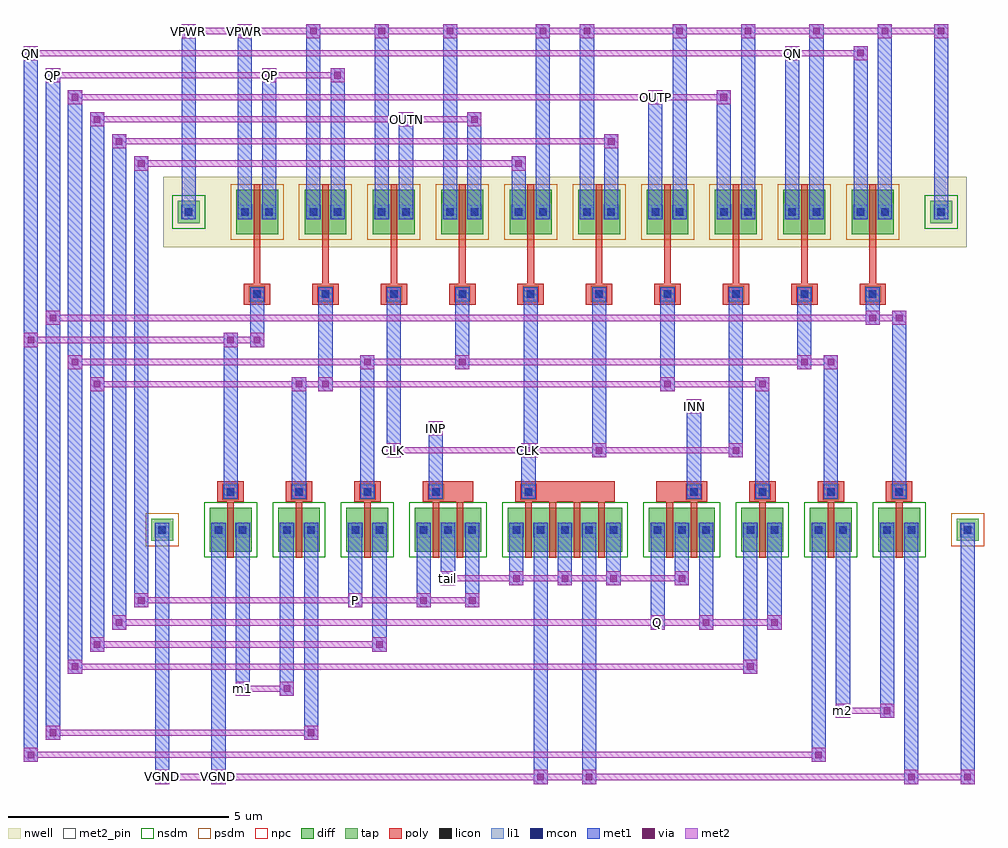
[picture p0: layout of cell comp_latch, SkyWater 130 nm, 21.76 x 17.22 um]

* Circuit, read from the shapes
.subckt comp_latch CLK INN INP OUTN OUTP P Q QN QP VGND VPWR m1 m2 tail
XM1 m1 QN VGND VGND sky130_fd_pr__nfet_01v8 w=1 l=0.15
XM2 QP OUTN m1 VGND sky130_fd_pr__nfet_01v8 w=1 l=0.15
XM3 OUTN OUTP P VGND sky130_fd_pr__nfet_01v8 w=1 l=0.15
XM4 tail INP P VGND sky130_fd_pr__nfet_01v8 w=1 l=0.15 m=2
XM5 VGND CLK tail VGND sky130_fd_pr__nfet_01v8 w=1 l=0.15 m=4
XM6 tail INN Q VGND sky130_fd_pr__nfet_01v8 w=1 l=0.15 m=2
XM7 Q OUTN OUTP VGND sky130_fd_pr__nfet_01v8 w=1 l=0.15
XM8 m2 OUTP QN VGND sky130_fd_pr__nfet_01v8 w=1 l=0.15
XM9 VGND QP m2 VGND sky130_fd_pr__nfet_01v8 w=1 l=0.15
XM10 QP QN VPWR VPWR sky130_fd_pr__pfet_01v8 w=1 l=0.15
XM11 QP OUTN VPWR VPWR sky130_fd_pr__pfet_01v8 w=1 l=0.15
XM12 OUTN CLK VPWR VPWR sky130_fd_pr__pfet_01v8 w=1 l=0.15
XM13 OUTN OUTP VPWR VPWR sky130_fd_pr__pfet_01v8 w=1 l=0.15
XM14 VPWR CLK P VPWR sky130_fd_pr__pfet_01v8 w=1 l=0.15
XM15 Q CLK VPWR VPWR sky130_fd_pr__pfet_01v8 w=1 l=0.15
XM16 VPWR OUTN OUTP VPWR sky130_fd_pr__pfet_01v8 w=1 l=0.15
XM17 VPWR CLK OUTP VPWR sky130_fd_pr__pfet_01v8 w=1 l=0.15
XM18 VPWR OUTP QN VPWR sky130_fd_pr__pfet_01v8 w=1 l=0.15
XM19 VPWR QP QN VPWR sky130_fd_pr__pfet_01v8 w=1 l=0.15
.ends

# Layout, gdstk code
import gdstk
lib = gdstk.Library(unit=1e-6, precision=1e-09)
def R(c, l, rs):  # rectangles x0, y0, x1, y1
    for r in rs: c.add(gdstk.rectangle(r[:2], r[2:], *l))
def A(c, l, x, y, w, h, nx, ny, dx, dy):  # array of equal rectangles
    R(c, l, [(x+i*dx, y+j*dy, x+i*dx+w, y+j*dy+h) for i in range(nx) for j in range(ny)])
nwell = (64, 20)
diff = (65, 20)
tap = (65, 44)
poly = (66, 20)
licon = (66, 44)
li1 = (67, 20)
mcon = (67, 44)
met1 = (68, 20)
via = (68, 44)
met2_pin = (69, 16)
met2 = (69, 20)
nsdm = (93, 44)
psdm = (94, 20)
npc = (95, 20)

comp_latch = lib.new_cell('comp_latch')
R(comp_latch, nwell, [(-9.1,6.9,9.1,8.5)])
A(comp_latch, diff, -8.05, 0, 0.95, 1, 3, 1, 1.55, 0)
A(comp_latch, diff, 4, 0, 0.95, 1, 3, 1, 1.55, 0)
A(comp_latch, diff, -7.45, 7.2, 0.95, 1, 10, 1, 1.55, 0)
R(comp_latch, diff, [(-3.4,0,-1.9,1), (-1.3,0,1.3,1), (1.9,0,3.4,1)])
R(comp_latch, tap, [(-9.375,0.25,-8.875,0.75), (8.875,0.25,9.375,0.75), (-8.775,7.45,-8.275,7.95), (8.275,7.45,8.775,7.95)])
A(comp_latch, poly, -7.65, -0.13, 0.15, 1.26, 4, 1, 1.55, 0)
A(comp_latch, poly, -0.9, -0.13, 0.15, 1.26, 4, 1, 0.55, 0)
A(comp_latch, poly, 2.85, -0.13, 0.15, 1.26, 4, 1, 1.55, 0)
A(comp_latch, poly, -7.875, 1.13, 0.6, 0.47, 3, 1, 1.55, 0)
A(comp_latch, poly, 4.175, 1.13, 0.6, 0.47, 3, 1, 1.55, 0)
A(comp_latch, poly, -7.275, 5.6, 0.6, 0.47, 10, 1, 1.55, 0)
A(comp_latch, poly, -7.05, 6.07, 0.15, 2.26, 10, 1, 1.55, 0)
R(comp_latch, poly, [(-2.45,-0.13,-2.3,1.13), (2.3,-0.13,2.45,1.13), (-3.225,1.13,-2.075,1.6), (-1.125,1.13,1.125,1.6), (2.075,1.13,3.225,1.6)])
A(comp_latch, licon, -3.285, 0.415, 0.17, 0.17, 3, 1, 0.55, 0)
A(comp_latch, licon, -1.185, 0.415, 0.17, 0.17, 5, 1, 0.55, 0)
A(comp_latch, licon, 2.015, 0.415, 0.17, 0.17, 3, 1, 0.55, 0)
A(comp_latch, licon, -7.66, 1.275, 0.17, 0.17, 4, 1, 1.55, 0)
A(comp_latch, licon, 2.84, 1.275, 0.17, 0.17, 4, 1, 1.55, 0)
A(comp_latch, licon, -7.06, 5.755, 0.17, 0.17, 10, 1, 1.55, 0)
R(comp_latch, licon, [(-9.21,0.415,-9.04,0.585), (-7.935,0.415,-7.765,0.585), (-7.385,0.415,-7.215,0.585), (-6.385,0.415,-6.215,0.585), (-5.835,0.415,-5.665,0.585), (-4.835,0.415,-4.665,0.585), (-4.285,0.415,-4.115,0.585), (4.115,0.415,4.285,0.585), (4.665,0.415,4.835,0.585), (5.665,0.415,5.835,0.585), (6.215,0.415,6.385,0.585), (7.215,0.415,7.385,0.585), (7.765,0.415,7.935,0.585), (9.04,0.415,9.21,0.585), (-0.91,1.275,-0.74,1.445), (-8.61,7.615,-8.44,7.785), (-7.335,7.615,-7.165,7.785), (-6.785,7.615,-6.615,7.785), (-5.785,7.615,-5.615,7.785), (-5.235,7.615,-5.065,7.785), (-4.235,7.615,-4.065,7.785), (-3.685,7.615,-3.515,7.785), (-2.685,7.615,-2.515,7.785), (-2.135,7.615,-1.965,7.785), (-1.135,7.615,-0.965,7.785), (-0.585,7.615,-0.415,7.785), (0.415,7.615,0.585,7.785), (0.965,7.615,1.135,7.785), (1.965,7.615,2.135,7.785), (2.515,7.615,2.685,7.785), (3.515,7.615,3.685,7.785), (4.065,7.615,4.235,7.785), (5.065,7.615,5.235,7.785), (5.615,7.615,5.785,7.785), (6.615,7.615,6.785,7.785), (7.165,7.615,7.335,7.785), (8.44,7.615,8.61,7.785)])
A(comp_latch, li1, -3.365, 0.335, 0.33, 0.33, 3, 1, 0.55, 0)
A(comp_latch, li1, -1.265, 0.335, 0.33, 0.33, 5, 1, 0.55, 0)
A(comp_latch, li1, 1.935, 0.335, 0.33, 0.33, 3, 1, 0.55, 0)
A(comp_latch, li1, -7.74, 1.195, 0.33, 0.33, 4, 1, 1.55, 0)
A(comp_latch, li1, 2.76, 1.195, 0.33, 0.33, 4, 1, 1.55, 0)
A(comp_latch, li1, -7.14, 5.675, 0.33, 0.33, 10, 1, 1.55, 0)
R(comp_latch, li1, [(-9.29,0.335,-8.96,0.665), (-8.015,0.335,-7.685,0.665), (-7.465,0.335,-7.135,0.665), (-6.465,0.335,-6.135,0.665), (-5.915,0.335,-5.585,0.665), (-4.915,0.335,-4.585,0.665), (-4.365,0.335,-4.035,0.665), (4.035,0.335,4.365,0.665), (4.585,0.335,4.915,0.665), (5.585,0.335,5.915,0.665), (6.135,0.335,6.465,0.665), (7.135,0.335,7.465,0.665), (7.685,0.335,8.015,0.665), (8.96,0.335,9.29,0.665), (-0.99,1.195,-0.66,1.525), (-8.69,7.535,-8.36,7.865), (-7.415,7.535,-7.085,7.865), (-6.865,7.535,-6.535,7.865), (-5.865,7.535,-5.535,7.865), (-5.315,7.535,-4.985,7.865), (-4.315,7.535,-3.985,7.865), (-3.765,7.535,-3.435,7.865), (-2.765,7.535,-2.435,7.865), (-2.215,7.535,-1.885,7.865), (-1.215,7.535,-0.885,7.865), (-0.665,7.535,-0.335,7.865), (0.335,7.535,0.665,7.865), (0.885,7.535,1.215,7.865), (1.885,7.535,2.215,7.865), (2.435,7.535,2.765,7.865), (3.435,7.535,3.765,7.865), (3.985,7.535,4.315,7.865), (4.985,7.535,5.315,7.865), (5.535,7.535,5.865,7.865), (6.535,7.535,6.865,7.865), (7.085,7.535,7.415,7.865), (8.36,7.535,8.69,7.865)])
A(comp_latch, mcon, -3.285, 0.415, 0.17, 0.17, 3, 1, 0.55, 0)
A(comp_latch, mcon, -1.185, 0.415, 0.17, 0.17, 5, 1, 0.55, 0)
A(comp_latch, mcon, 2.015, 0.415, 0.17, 0.17, 3, 1, 0.55, 0)
A(comp_latch, mcon, -7.66, 1.275, 0.17, 0.17, 4, 1, 1.55, 0)
A(comp_latch, mcon, 2.84, 1.275, 0.17, 0.17, 4, 1, 1.55, 0)
A(comp_latch, mcon, -7.06, 5.755, 0.17, 0.17, 10, 1, 1.55, 0)
R(comp_latch, mcon, [(-9.21,0.415,-9.04,0.585), (-7.935,0.415,-7.765,0.585), (-7.385,0.415,-7.215,0.585), (-6.385,0.415,-6.215,0.585), (-5.835,0.415,-5.665,0.585), (-4.835,0.415,-4.665,0.585), (-4.285,0.415,-4.115,0.585), (4.115,0.415,4.285,0.585), (4.665,0.415,4.835,0.585), (5.665,0.415,5.835,0.585), (6.215,0.415,6.385,0.585), (7.215,0.415,7.385,0.585), (7.765,0.415,7.935,0.585), (9.04,0.415,9.21,0.585), (-0.91,1.275,-0.74,1.445), (-8.61,7.615,-8.44,7.785), (-7.335,7.615,-7.165,7.785), (-6.785,7.615,-6.615,7.785), (-5.785,7.615,-5.615,7.785), (-5.235,7.615,-5.065,7.785), (-4.235,7.615,-4.065,7.785), (-3.685,7.615,-3.515,7.785), (-2.685,7.615,-2.515,7.785), (-2.135,7.615,-1.965,7.785), (-1.135,7.615,-0.965,7.785), (-0.585,7.615,-0.415,7.785), (0.415,7.615,0.585,7.785), (0.965,7.615,1.135,7.785), (1.965,7.615,2.135,7.785), (2.515,7.615,2.685,7.785), (3.515,7.615,3.685,7.785), (4.065,7.615,4.235,7.785), (5.065,7.615,5.235,7.785), (5.615,7.615,5.785,7.785), (6.615,7.615,6.785,7.785), (7.165,7.615,7.335,7.785), (8.44,7.615,8.61,7.785)])
A(comp_latch, met1, -1.26, -0.76, 0.32, 1.42, 3, 1, 1.1, 0)
A(comp_latch, met1, -3.345, 0.355, 0.29, 0.29, 3, 1, 0.55, 0)
A(comp_latch, met1, -1.245, 0.355, 0.29, 0.29, 5, 1, 0.55, 0)
A(comp_latch, met1, 1.955, 0.355, 0.29, 0.29, 3, 1, 0.55, 0)
A(comp_latch, met1, -7.72, 1.215, 0.29, 0.29, 4, 1, 1.55, 0)
A(comp_latch, met1, 2.78, 1.215, 0.29, 0.29, 4, 1, 1.55, 0)
A(comp_latch, met1, -7.12, 5.695, 0.29, 0.29, 10, 1, 1.55, 0)
A(comp_latch, met1, -7.41, 7.54, 0.32, 4.42, 4, 1, 1.55, 0)
A(comp_latch, met1, 2.44, 7.54, 0.32, 4.42, 4, 1, 1.55, 0)
R(comp_latch, met1, [(-9.285,-5.26,-8.965,0.66), (-8.01,-5.26,-7.69,0.66), (-0.71,-5.26,-0.39,0.66), (0.39,-5.26,0.71,0.66), (7.69,-5.26,8.01,0.66), (8.965,-5.26,9.285,0.66), (-12.26,-4.76,-11.94,11.46), (5.59,-4.76,5.91,0.66), (-11.76,-4.26,-11.44,10.96), (-5.91,-4.26,-5.59,0.66), (6.14,-3.76,6.46,0.66), (7.14,-3.76,7.46,0.66), (-7.46,-3.26,-7.14,0.66), (-6.46,-3.26,-6.14,0.66), (-11.26,-2.76,-10.94,10.46), (4.04,-2.76,4.36,0.66), (-10.76,-2.26,-10.44,9.96), (-4.36,-2.26,-4.04,0.66), (-10.26,-1.76,-9.94,9.46), (1.94,-1.76,2.26,0.66), (3.04,-1.76,3.36,0.66), (4.59,-1.76,4.91,0.66), (-9.76,-1.26,-9.44,8.96), (-4.91,-1.26,-4.59,0.66), (-3.36,-1.26,-3.04,0.66), (-2.26,-1.26,-1.94,0.66), (-2.81,-0.76,-2.49,0.66), (2.49,-0.76,2.81,0.66), (-9.27,0.355,-8.98,0.645), (-7.995,0.355,-7.705,0.645), (-7.445,0.355,-7.155,0.645), (-6.445,0.355,-6.155,0.645), (-5.895,0.355,-5.605,0.645), (-4.895,0.355,-4.605,0.645), (-4.345,0.355,-4.055,0.645), (4.055,0.355,4.345,0.645), (4.605,0.355,4.895,0.645), (5.605,0.355,5.895,0.645), (6.155,0.355,6.445,0.645), (7.155,0.355,7.445,0.645), (7.705,0.355,7.995,0.645), (8.98,0.355,9.27,0.645), (-7.735,1.2,-7.415,4.96), (-6.185,1.2,-5.865,3.96), (-4.635,1.2,-4.315,4.46), (-3.085,1.2,-2.765,2.96), (-0.985,1.2,-0.665,2.46), (2.765,1.2,3.085,3.46), (4.315,1.2,4.635,3.96), (5.865,1.2,6.185,4.46), (7.415,1.2,7.735,5.46), (-0.97,1.215,-0.68,1.505), (-4.035,2.14,-3.715,6), (-0.935,2.14,-0.615,6), (0.615,2.14,0.935,6), (3.715,2.14,4.035,6), (-5.585,3.64,-5.265,6), (2.165,3.64,2.485,6), (-2.485,4.14,-2.165,6), (5.265,4.14,5.585,6), (-7.135,4.64,-6.815,6), (6.815,5.14,7.135,6), (-8.685,7.54,-8.365,11.96), (-6.86,7.54,-6.54,10.96), (-5.31,7.54,-4.99,10.96), (-3.76,7.54,-3.44,9.96), (-2.21,7.54,-1.89,9.96), (-1.21,7.54,-0.89,8.96), (-0.66,7.54,-0.34,11.96), (0.34,7.54,0.66,11.96), (0.89,7.54,1.21,9.46), (1.89,7.54,2.21,10.46), (3.44,7.54,3.76,10.46), (4.99,7.54,5.31,11.46), (6.54,7.54,6.86,11.46), (8.365,7.54,8.685,11.96), (-8.67,7.555,-8.38,7.845), (-7.395,7.555,-7.105,7.845), (-6.845,7.555,-6.555,7.845), (-5.845,7.555,-5.555,7.845), (-5.295,7.555,-5.005,7.845), (-4.295,7.555,-4.005,7.845), (-3.745,7.555,-3.455,7.845), (-2.745,7.555,-2.455,7.845), (-2.195,7.555,-1.905,7.845), (-1.195,7.555,-0.905,7.845), (-0.645,7.555,-0.355,7.845), (0.355,7.555,0.645,7.845), (0.905,7.555,1.195,7.845), (1.905,7.555,2.195,7.845), (2.455,7.555,2.745,7.845), (3.455,7.555,3.745,7.845), (4.005,7.555,4.295,7.845), (5.005,7.555,5.295,7.845), (5.555,7.555,5.845,7.845), (6.555,7.555,6.845,7.845), (7.105,7.555,7.395,7.845), (8.38,7.555,8.67,7.845)])
A(comp_latch, via, -1.175, -0.675, 0.15, 0.15, 3, 1, 1.1, 0)
A(comp_latch, via, -7.325, 11.725, 0.15, 0.15, 4, 1, 1.55, 0)
A(comp_latch, via, 2.525, 11.725, 0.15, 0.15, 4, 1, 1.55, 0)
R(comp_latch, via, [(-9.2,-5.175,-9.05,-5.025), (-7.925,-5.175,-7.775,-5.025), (-0.625,-5.175,-0.475,-5.025), (0.475,-5.175,0.625,-5.025), (7.775,-5.175,7.925,-5.025), (9.05,-5.175,9.2,-5.025), (-12.175,-4.675,-12.025,-4.525), (5.675,-4.675,5.825,-4.525), (-11.675,-4.175,-11.525,-4.025), (-5.825,-4.175,-5.675,-4.025), (6.225,-3.675,6.375,-3.525), (7.225,-3.675,7.375,-3.525), (-7.375,-3.175,-7.225,-3.025), (-6.375,-3.175,-6.225,-3.025), (-11.175,-2.675,-11.025,-2.525), (4.125,-2.675,4.275,-2.525), (-10.675,-2.175,-10.525,-2.025), (-4.275,-2.175,-4.125,-2.025), (-10.175,-1.675,-10.025,-1.525), (2.025,-1.675,2.175,-1.525), (3.125,-1.675,3.275,-1.525), (4.675,-1.675,4.825,-1.525), (-9.675,-1.175,-9.525,-1.025), (-4.825,-1.175,-4.675,-1.025), (-3.275,-1.175,-3.125,-1.025), (-2.175,-1.175,-2.025,-1.025), (-2.725,-0.675,-2.575,-0.525), (2.575,-0.675,2.725,-0.525), (-3.95,2.225,-3.8,2.375), (-0.9,2.225,-0.75,2.375), (-0.85,2.225,-0.7,2.375), (0.7,2.225,0.85,2.375), (3.8,2.225,3.95,2.375), (-3,2.725,-2.85,2.875), (2.85,3.225,3,3.375), (-10.675,3.725,-10.525,3.875), (-6.1,3.725,-5.95,3.875), (-5.5,3.725,-5.35,3.875), (2.25,3.725,2.4,3.875), (4.4,3.725,4.55,3.875), (-11.175,4.225,-11.025,4.375), (-4.55,4.225,-4.4,4.375), (-2.4,4.225,-2.25,4.375), (5.35,4.225,5.5,4.375), (5.95,4.225,6.1,4.375), (-12.175,4.725,-12.025,4.875), (-7.65,4.725,-7.5,4.875), (-7.05,4.725,-6.9,4.875), (-11.675,5.225,-11.525,5.375), (6.9,5.225,7.05,5.375), (7.5,5.225,7.65,5.375), (-9.675,8.725,-9.525,8.875), (-1.125,8.725,-0.975,8.875), (-10.175,9.225,-10.025,9.375), (0.975,9.225,1.125,9.375), (-10.675,9.725,-10.525,9.875), (-3.675,9.725,-3.525,9.875), (-2.125,9.725,-1.975,9.875), (-11.175,10.225,-11.025,10.375), (1.975,10.225,2.125,10.375), (3.525,10.225,3.675,10.375), (-11.675,10.725,-11.525,10.875), (-6.775,10.725,-6.625,10.875), (-5.225,10.725,-5.075,10.875), (-12.175,11.225,-12.025,11.375), (5.075,11.225,5.225,11.375), (6.625,11.225,6.775,11.375), (-8.6,11.725,-8.45,11.875), (-0.575,11.725,-0.425,11.875), (0.425,11.725,0.575,11.875), (8.45,11.725,8.6,11.875)])
R(comp_latch, met2_pin, [(-9.225,-5.2,-9.025,-5), (-3.975,2.2,-3.775,2.4), (-3.025,2.7,-2.825,2.9), (2.825,3.2,3.025,3.4), (-11.7,10.7,-11.5,10.9), (-12.2,11.2,-12,11.4), (-8.625,11.7,-8.425,11.9)])
A(comp_latch, met2, -1.26, -0.76, 0.32, 0.32, 3, 1, 1.1, 0)
A(comp_latch, met2, -7.41, 11.64, 0.32, 0.32, 4, 1, 1.55, 0)
A(comp_latch, met2, 2.44, 11.64, 0.32, 0.32, 4, 1, 1.55, 0)
R(comp_latch, met2, [(-9.285,-5.26,-8.965,-4.94), (-8.01,-5.26,-7.69,-4.94), (-0.71,-5.26,-0.39,-4.94), (0.39,-5.26,0.71,-4.94), (7.69,-5.26,8.01,-4.94), (8.965,-5.26,9.285,-4.94), (-9.285,-5.17,9.285,-5.03), (-12.26,-4.76,-11.94,-4.44), (5.59,-4.76,5.91,-4.44), (-12.26,-4.67,5.91,-4.53), (-11.76,-4.26,-11.44,-3.94), (-5.91,-4.26,-5.59,-3.94), (-11.76,-4.17,-5.59,-4.03), (6.14,-3.76,6.46,-3.44), (7.14,-3.76,7.46,-3.44), (6.14,-3.67,7.46,-3.53), (-7.46,-3.26,-7.14,-2.94), (-6.46,-3.26,-6.14,-2.94), (-7.46,-3.17,-6.14,-3.03), (-11.26,-2.76,-10.94,-2.44), (4.04,-2.76,4.36,-2.44), (-11.26,-2.67,4.36,-2.53), (-10.76,-2.26,-10.44,-1.94), (-4.36,-2.26,-4.04,-1.94), (-10.76,-2.17,-4.04,-2.03), (-10.26,-1.76,-9.94,-1.44), (1.94,-1.76,2.26,-1.44), (3.04,-1.76,3.36,-1.44), (4.59,-1.76,4.91,-1.44), (-10.26,-1.67,4.91,-1.53), (-9.76,-1.26,-9.44,-0.94), (-4.91,-1.26,-4.59,-0.94), (-3.36,-1.26,-3.04,-0.94), (-2.26,-1.26,-1.94,-0.94), (-9.76,-1.17,-1.94,-1.03), (-2.81,-0.76,-2.49,-0.44), (2.49,-0.76,2.81,-0.44), (-2.81,-0.67,2.81,-0.53), (-4.035,2.14,-3.715,2.46), (-0.985,2.14,-0.665,2.46), (-0.935,2.14,-0.615,2.46), (0.615,2.14,0.935,2.46), (3.715,2.14,4.035,2.46), (-4.035,2.23,4.035,2.37), (-3.085,2.64,-2.765,2.96), (-3.085,2.73,-2.765,2.87), (2.765,3.14,3.085,3.46), (2.765,3.23,3.085,3.37), (-10.76,3.64,-10.44,3.96), (-6.185,3.64,-5.865,3.96), (-5.585,3.64,-5.265,3.96), (2.165,3.64,2.485,3.96), (4.315,3.64,4.635,3.96), (-10.76,3.73,4.635,3.87), (-11.26,4.14,-10.94,4.46), (-4.635,4.14,-4.315,4.46), (-2.485,4.14,-2.165,4.46), (5.265,4.14,5.585,4.46), (5.865,4.14,6.185,4.46), (-11.26,4.23,6.185,4.37), (-12.26,4.64,-11.94,4.96), (-7.735,4.64,-7.415,4.96), (-7.135,4.64,-6.815,4.96), (-12.26,4.73,-6.815,4.87), (-11.76,5.14,-11.44,5.46), (6.815,5.14,7.135,5.46), (7.415,5.14,7.735,5.46), (-11.76,5.23,7.735,5.37), (-9.76,8.64,-9.44,8.96), (-1.21,8.64,-0.89,8.96), (-9.76,8.73,-0.89,8.87), (-10.26,9.14,-9.94,9.46), (0.89,9.14,1.21,9.46), (-10.26,9.23,1.21,9.37), (-10.76,9.64,-10.44,9.96), (-3.76,9.64,-3.44,9.96), (-2.21,9.64,-1.89,9.96), (-10.76,9.73,-1.89,9.87), (-11.26,10.14,-10.94,10.46), (1.89,10.14,2.21,10.46), (3.44,10.14,3.76,10.46), (-11.26,10.23,3.76,10.37), (-11.76,10.64,-11.44,10.96), (-6.86,10.64,-6.54,10.96), (-5.31,10.64,-4.99,10.96), (-11.76,10.73,-4.99,10.87), (-12.26,11.14,-11.94,11.46), (4.99,11.14,5.31,11.46), (6.54,11.14,6.86,11.46), (-12.26,11.23,6.86,11.37), (-8.685,11.64,-8.365,11.96), (-0.66,11.64,-0.34,11.96), (0.34,11.64,0.66,11.96), (8.365,11.64,8.685,11.96), (-8.685,11.73,8.685,11.87)])
A(comp_latch, nsdm, -8.175, -0.125, 1.2, 1.25, 3, 1, 1.55, 0)
A(comp_latch, nsdm, 3.875, -0.125, 1.2, 1.25, 3, 1, 1.55, 0)
R(comp_latch, nsdm, [(-3.525,-0.125,-1.775,1.125), (-1.425,-0.125,1.425,1.125), (1.775,-0.125,3.525,1.125), (-8.9,7.325,-8.15,8.075), (8.15,7.325,8.9,8.075)])
A(comp_latch, psdm, -7.575, 7.075, 1.2, 1.25, 10, 1, 1.55, 0)
R(comp_latch, psdm, [(-9.5,0.125,-8.75,0.875), (8.75,0.125,9.5,0.875)])
A(comp_latch, npc, -7.76, 1.175, 0.37, 0.37, 4, 1, 1.55, 0)
A(comp_latch, npc, 2.74, 1.175, 0.37, 0.37, 4, 1, 1.55, 0)
A(comp_latch, npc, -7.16, 5.655, 0.37, 0.37, 10, 1, 1.55, 0)
R(comp_latch, npc, [(-1.01,1.175,-0.64,1.545)])
comp_latch.add(gdstk.Label('VGND', (-9.125,-5.1), layer=69, texttype=16))
comp_latch.add(gdstk.Label('VPWR', (-8.525,11.8), layer=69, texttype=16))
comp_latch.add(gdstk.Label('CLK', (-3.875,2.3), layer=69, texttype=16))
comp_latch.add(gdstk.Label('INP', (-2.925,2.8), layer=69, texttype=16))
comp_latch.add(gdstk.Label('INN', (2.925,3.3), layer=69, texttype=16))
comp_latch.add(gdstk.Label('QP', (-11.6,10.8), layer=69, texttype=16))
comp_latch.add(gdstk.Label('QN', (-12.1,11.3), layer=69, texttype=16))
comp_latch.add(gdstk.Label('tail', (-2.65,-0.6), layer=69, texttype=5))
comp_latch.add(gdstk.Label('P', (-4.75,-1.1), layer=69, texttype=5))
comp_latch.add(gdstk.Label('Q', (2.1,-1.6), layer=69, texttype=5))
comp_latch.add(gdstk.Label('OUTN', (-3.6,9.8), layer=69, texttype=5))
comp_latch.add(gdstk.Label('OUTP', (2.05,10.3), layer=69, texttype=5))
comp_latch.add(gdstk.Label('m1', (-7.3,-3.1), layer=69, texttype=5))
comp_latch.add(gdstk.Label('m2', (6.3,-3.6), layer=69, texttype=5))
comp_latch.add(gdstk.Label('QP', (-6.7,10.8), layer=69, texttype=5))
comp_latch.add(gdstk.Label('QN', (5.15,11.3), layer=69, texttype=5))
comp_latch.add(gdstk.Label('CLK', (-0.825,2.3), layer=69, texttype=5))
comp_latch.add(gdstk.Label('INP', (-2.925,2.8), layer=69, texttype=5))
comp_latch.add(gdstk.Label('INN', (2.925,3.3), layer=69, texttype=5))
comp_latch.add(gdstk.Label('VGND', (-7.85,-5.1), layer=69, texttype=5))
comp_latch.add(gdstk.Label('VPWR', (-7.25,11.8), layer=69, texttype=5))
comp_latch.add(gdstk.Label('VGND', (-9.125,-5.1), layer=69, texttype=5))
comp_latch.add(gdstk.Label('VPWR', (-8.525,11.8), layer=69, texttype=5))
comp_latch.add(gdstk.Label('CLK', (-3.875,2.3), layer=69, texttype=5))
comp_latch.add(gdstk.Label('INP', (-2.925,2.8), layer=69, texttype=5))
comp_latch.add(gdstk.Label('INN', (2.925,3.3), layer=69, texttype=5))
comp_latch.add(gdstk.Label('QP', (-11.6,10.8), layer=69, texttype=5))
comp_latch.add(gdstk.Label('QN', (-12.1,11.3), layer=69, texttype=5))

lib.write_gds('comp_latch.gds')
